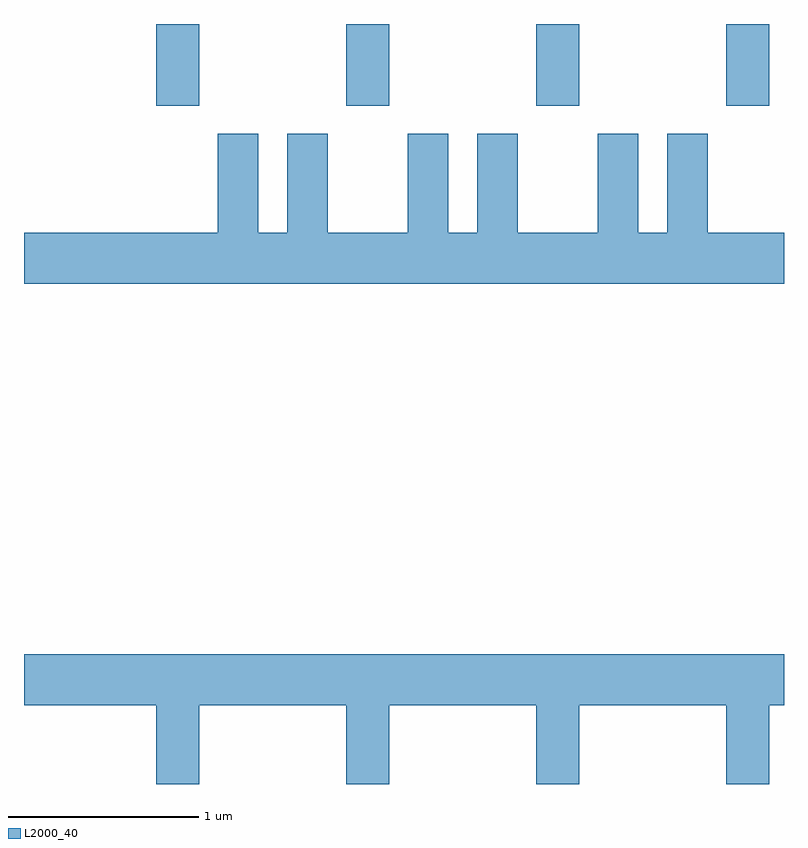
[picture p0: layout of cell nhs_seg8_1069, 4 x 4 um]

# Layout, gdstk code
import gdstk
lib = gdstk.Library(unit=1e-6, precision=1e-09)
def R(c, l, rs):  # rectangles x0, y0, x1, y1
    for r in rs: c.add(gdstk.rectangle(r[:2], r[2:], *l))
def A(c, l, x, y, w, h, nx, ny, dx, dy):  # array of equal rectangles
    R(c, l, [(x+i*dx, y+j*dy, x+i*dx+w, y+j*dy+h) for i in range(nx) for j in range(ny)])
def P(c, l, *ps):  # polygons
    for p in ps: c.add(gdstk.Polygon(p, *l))
L2000_40 = (2000, 40)

nhs_seg8_1069 = lib.new_cell('nhs_seg8_1069')
A(nhs_seg8_1069, L2000_40, 216.306, 1943.911, 0.228, 0.431, 4, 1, 1, 0)
P(nhs_seg8_1069, L2000_40, [(219.611,1943.244),(219.209,1943.244),(219.209,1943.764),(218.996,1943.764),(218.996,1943.244),(218.844,1943.244),(218.844,1943.764),(218.631,1943.764),(218.631,1943.244),(218.209,1943.244),(218.209,1943.764),(217.996,1943.764),(217.996,1943.244),(217.844,1943.244),(217.844,1943.764),(217.631,1943.764),(217.631,1943.244),(217.209,1943.244),(217.209,1943.764),(216.996,1943.764),(216.996,1943.244),(216.844,1943.244),(216.844,1943.764),(216.631,1943.764),(216.631,1943.244),(215.611,1943.244),(215.611,1942.976),(219.611,1942.976)],
  [(216.534,1940.756),(217.306,1940.756),(217.306,1940.342),(217.534,1940.342),(217.534,1940.756),(218.306,1940.756),(218.306,1940.342),(218.534,1940.342),(218.534,1940.756),(219.306,1940.756),(219.306,1940.342),(219.534,1940.342),(219.534,1940.756),(219.611,1940.756),(219.611,1941.024),(215.611,1941.024),(215.611,1940.756),(216.306,1940.756),(216.306,1940.342),(216.534,1940.342)])

lib.write_gds('nhs_seg8_1069.gds')
